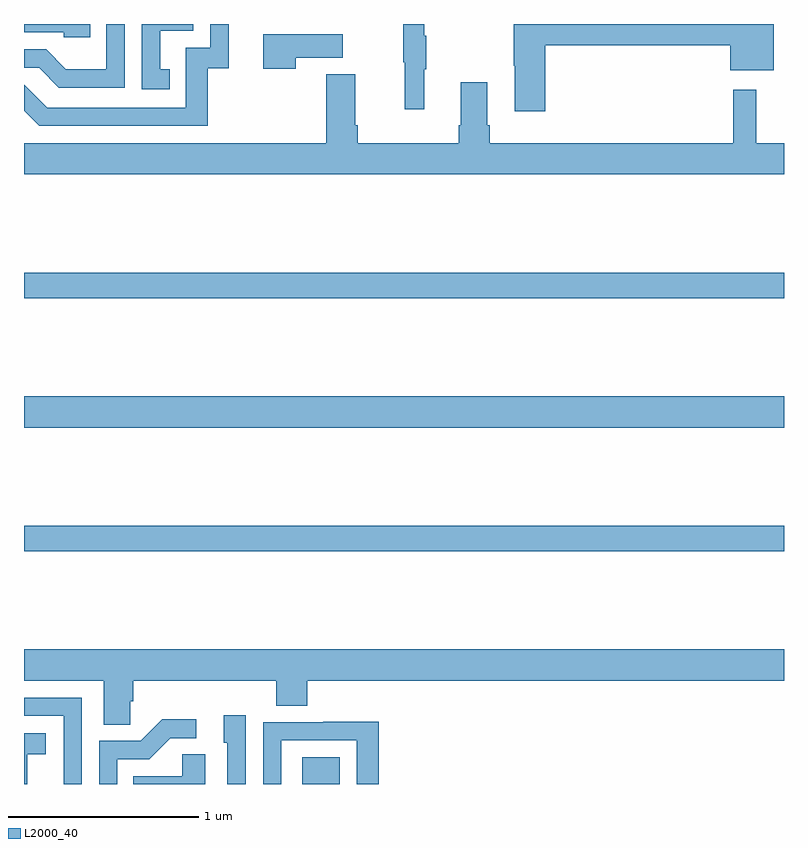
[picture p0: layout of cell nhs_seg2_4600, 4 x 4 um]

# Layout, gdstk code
import gdstk
lib = gdstk.Library(unit=1e-6, precision=1e-09)
def R(c, l, rs):  # rectangles x0, y0, x1, y1
    for r in rs: c.add(gdstk.rectangle(r[:2], r[2:], *l))
def P(c, l, *ps):  # polygons
    for p in ps: c.add(gdstk.Polygon(p, *l))
L2000_40 = (2000, 40)

nhs_seg2_4600 = lib.new_cell('nhs_seg2_4600')
R(nhs_seg2_4600, L2000_40, [(362.465,605.8,362.662,605.941), (361,607.024,365,607.16), (361,607.676,365,607.84), (361,608.356,365,608.492)])
P(nhs_seg2_4600, L2000_40, [(361.967,609.567),(362.078,609.567),(362.078,609.8),(361.98,609.8),(361.98,609.675),(361.851,609.675),(361.851,609.36),(361.122,609.36),(361.002,609.48),(361,609.48),(361,609.344),(361.08,609.264),(361.967,609.264)],
  [(361.53,609.8),(361.434,609.8),(361.434,609.562),(361.22,609.562),(361.116,609.666),(361,609.666),(361,609.57),(361.079,609.57),(361.184,609.465),(361.53,609.465)],
  [(363.107,609.563),(363.118,609.563),(363.118,609.737),(363.107,609.737),(363.107,609.8),(362.997,609.8),(362.997,609.6),(363.004,609.6),(363.004,609.351),(363.107,609.351)],
  [(363.743,609.688),(364.718,609.688),(364.718,609.557),(364.945,609.557),(364.945,609.8),(363.577,609.8),(363.577,609.58),(363.584,609.58),(363.584,609.342),(363.743,609.342)],
  [(361.349,609.8),(361,609.8),(361,609.756),(361.209,609.756),(361.209,609.729),(361.349,609.729)],
  [(361.766,609.561),(361.717,609.561),(361.717,609.765),(361.89,609.765),(361.89,609.8),(361.62,609.8),(361.62,609.456),(361.766,609.456)],
  [(362.429,609.623),(362.677,609.623),(362.677,609.745),(362.258,609.745),(362.258,609.564),(362.429,609.564)],
  [(365,609.172),(364.855,609.172),(364.855,609.454),(364.734,609.454),(364.734,609.172),(363.452,609.172),(363.452,609.268),(363.439,609.268),(363.439,609.493),(363.299,609.493),(363.299,609.268),(363.287,609.268),(363.287,609.172),(362.756,609.172),(362.756,609.268),(362.743,609.268),(362.743,609.535),(362.591,609.535),(362.591,609.172),(361,609.172),(361,609.008),(365,609.008)],
  [(361.56,606.235),(361.574,606.235),(361.574,606.344),(362.327,606.344),(362.327,606.211),(362.492,606.211),(362.492,606.344),(365,606.344),(365,606.508),(361,606.508),(361,606.344),(361.421,606.344),(361.421,606.112),(361.56,606.112)],
  [(361.305,606.255),(361,606.255),(361,606.159),(361.209,606.159),(361.209,605.8),(361.305,605.8)],
  [(362.166,606.163),(362.051,606.163),(362.051,606.018),(362.07,606.018),(362.07,605.8),(362.166,605.8)],
  [(361.491,605.931),(361.66,605.931),(361.771,606.042),(361.906,606.042),(361.906,606.14),(361.727,606.14),(361.614,606.027),(361.395,606.027),(361.395,605.8),(361.491,605.8)],
  [(362.355,606.03),(362.751,606.03),(362.751,605.8),(362.867,605.8),(362.867,606.128),(362.575,606.128),(362.575,606.126),(362.259,606.126),(362.259,605.8),(362.355,605.8)],
  [(361.016,605.957),(361.114,605.957),(361.114,606.067),(361,606.067),(361,605.8),(361.016,605.8)],
  [(361.954,605.957),(361.833,605.957),(361.833,605.842),(361.576,605.842),(361.576,605.8),(361.954,605.8)])

lib.write_gds('nhs_seg2_4600.gds')
